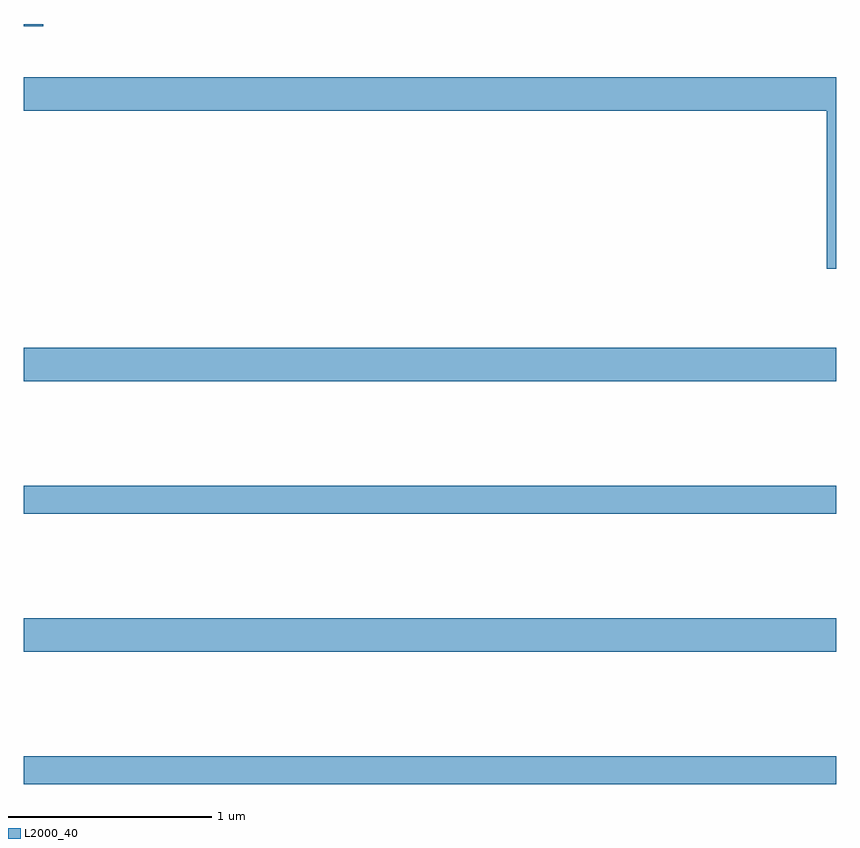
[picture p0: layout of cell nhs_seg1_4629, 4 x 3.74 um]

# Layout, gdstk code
import gdstk
lib = gdstk.Library(unit=1e-6, precision=1e-09)
def R(c, l, rs):  # rectangles x0, y0, x1, y1
    for r in rs: c.add(gdstk.rectangle(r[:2], r[2:], *l))
def P(c, l, *ps):  # polygons
    for p in ps: c.add(gdstk.Polygon(p, *l))
L2000_40 = (2000, 40)

nhs_seg1_4629 = lib.new_cell('nhs_seg1_4629')
R(nhs_seg1_4629, L2000_40, [(363,508.456,367,508.592), (363,509.108,367,509.272), (363,509.788,367,509.924), (363,510.44,367,510.604), (363,512.187,363.095,512.199)])
P(nhs_seg1_4629, L2000_40, [(367,511.936),(363,511.936),(363,511.772),(366.953,511.772),(366.953,510.993),(367,510.993)])

lib.write_gds('nhs_seg1_4629.gds')
